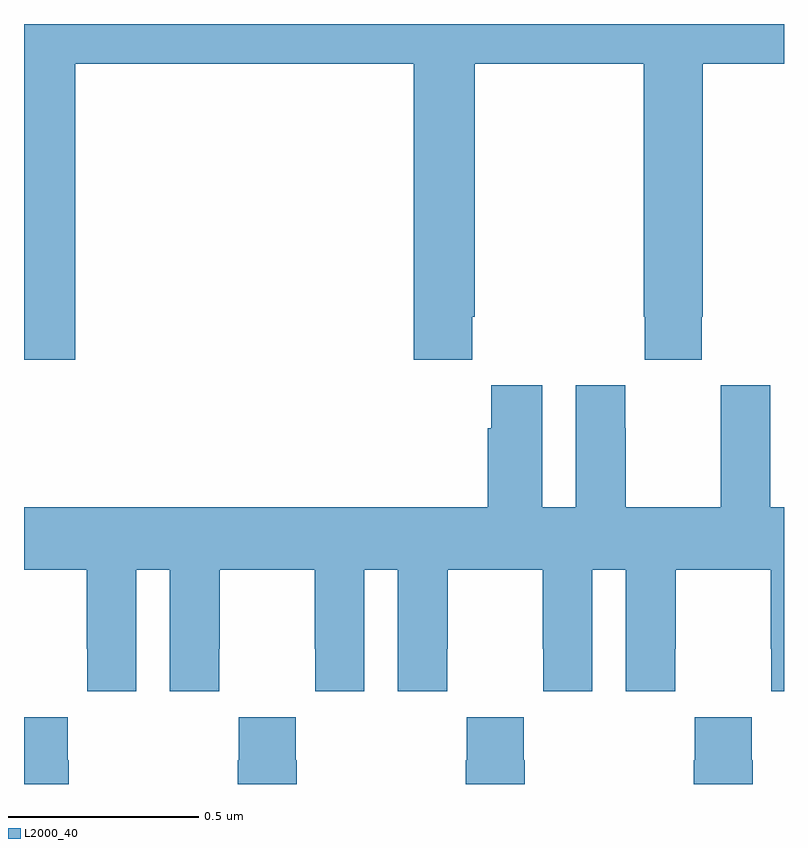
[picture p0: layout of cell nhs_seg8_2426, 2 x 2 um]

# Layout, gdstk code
import gdstk
lib = gdstk.Library(unit=1e-6, precision=1e-09)
def P(c, l, *ps):  # polygons
    for p in ps: c.add(gdstk.Polygon(p, *l))
L2000_40 = (2000, 40)

nhs_seg8_2426 = lib.new_cell('nhs_seg8_2426')
P(nhs_seg8_2426, L2000_40, [(143.135,1153.796),(144.026,1153.796),(144.026,1153.017),(144.179,1153.017),(144.179,1153.129),(144.186,1153.129),(144.186,1153.796),(144.631,1153.796),(144.631,1153.129),(144.633,1153.129),(144.633,1153.017),(144.783,1153.017),(144.783,1153.129),(144.786,1153.129),(144.786,1153.796),(145,1153.796),(145,1153.9),(143,1153.9),(143,1153.017),(143.135,1153.017)],
  [(143.296,1152.464),(143.384,1152.464),(143.384,1152.144),(143.514,1152.144),(143.514,1152.256),(143.515,1152.256),(143.515,1152.464),(143.765,1152.464),(143.765,1152.256),(143.766,1152.256),(143.766,1152.144),(143.896,1152.144),(143.896,1152.464),(143.984,1152.464),(143.984,1152.144),(144.114,1152.144),(144.114,1152.256),(144.115,1152.256),(144.115,1152.464),(144.365,1152.464),(144.365,1152.256),(144.366,1152.256),(144.366,1152.144),(144.496,1152.144),(144.496,1152.464),(144.584,1152.464),(144.584,1152.144),(144.714,1152.144),(144.714,1152.256),(144.715,1152.256),(144.715,1152.464),(144.965,1152.464),(144.965,1152.256),(144.966,1152.256),(144.966,1152.144),(145,1152.144),(145,1152.628),(144.964,1152.628),(144.964,1152.949),(144.834,1152.949),(144.834,1152.836),(144.833,1152.836),(144.833,1152.628),(144.583,1152.628),(144.583,1152.836),(144.582,1152.836),(144.582,1152.949),(144.452,1152.949),(144.452,1152.628),(144.364,1152.628),(144.364,1152.949),(144.23,1152.949),(144.23,1152.836),(144.221,1152.836),(144.221,1152.628),(143,1152.628),(143,1152.464),(143.165,1152.464),(143.165,1152.256),(143.166,1152.256),(143.166,1152.144),(143.296,1152.144)],
  [(143.118,1151.963),(143.115,1151.963),(143.115,1152.076),(143,1152.076),(143,1151.9),(143.118,1151.9)],
  [(143.718,1151.963),(143.715,1151.963),(143.715,1152.076),(143.565,1152.076),(143.565,1151.963),(143.563,1151.963),(143.563,1151.9),(143.718,1151.9)],
  [(144.165,1151.963),(144.163,1151.963),(144.163,1151.9),(144.318,1151.9),(144.318,1151.963),(144.315,1151.963),(144.315,1152.076),(144.165,1152.076)],
  [(144.918,1151.963),(144.915,1151.963),(144.915,1152.076),(144.765,1152.076),(144.765,1151.963),(144.763,1151.963),(144.763,1151.9),(144.918,1151.9)])

lib.write_gds('nhs_seg8_2426.gds')
